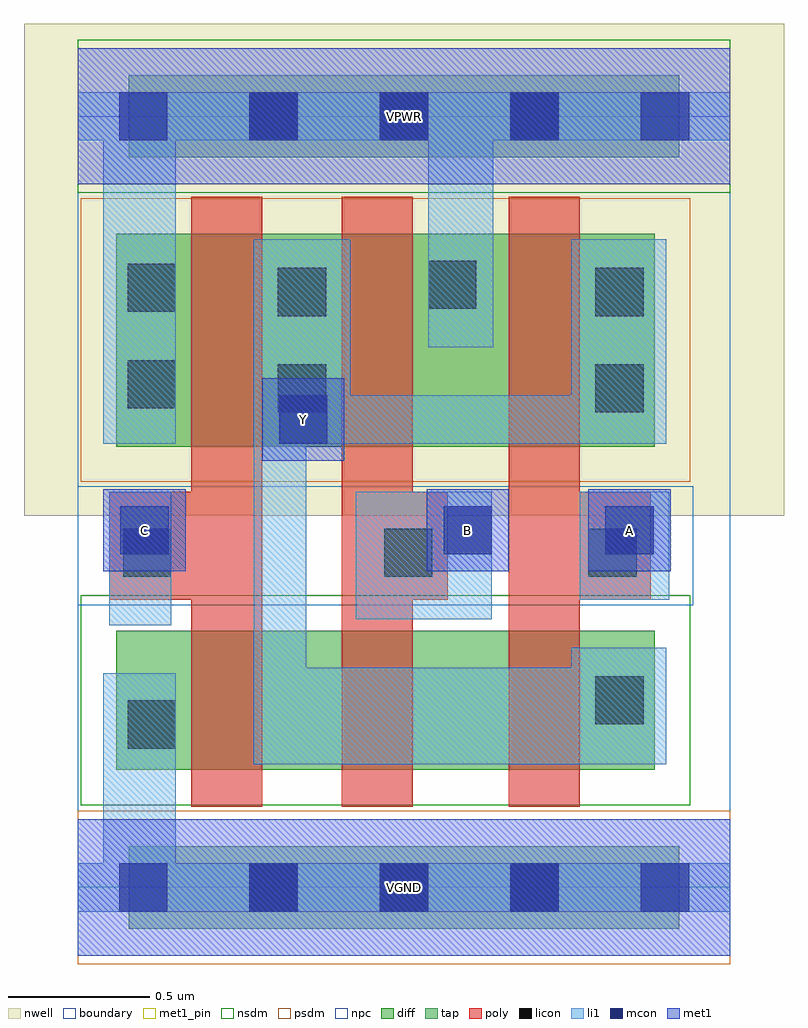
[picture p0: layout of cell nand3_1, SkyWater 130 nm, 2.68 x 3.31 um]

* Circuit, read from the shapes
.subckt nand3_1 A B C VGND VPWR Y
XM1 n1 C VGND VGND sky130_fd_pr__nfet_01v8 w=0.49 l=0.25
XM2 n2 B n1 VGND sky130_fd_pr__nfet_01v8 w=0.49 l=0.25
XM3 Y A n2 VGND sky130_fd_pr__nfet_01v8 w=0.49 l=0.25
XM4 Y C VPWR VPWR sky130_fd_pr__pfet_01v8 w=0.75 l=0.25
XM5 VPWR B Y VPWR sky130_fd_pr__pfet_01v8 w=0.75 l=0.25
XM6 Y A VPWR VPWR sky130_fd_pr__pfet_01v8 w=0.75 l=0.25
.ends

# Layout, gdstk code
import gdstk
lib = gdstk.Library(unit=1e-6, precision=1e-09)
def R(c, l, rs):  # rectangles x0, y0, x1, y1
    for r in rs: c.add(gdstk.rectangle(r[:2], r[2:], *l))
def A(c, l, x, y, w, h, nx, ny, dx, dy):  # array of equal rectangles
    R(c, l, [(x+i*dx, y+j*dy, x+i*dx+w, y+j*dy+h) for i in range(nx) for j in range(ny)])
nwell = (64, 20)
diff = (65, 20)
tap = (65, 44)
poly = (66, 20)
licon = (66, 44)
li1 = (67, 20)
mcon = (67, 44)
met1_pin = (68, 16)
met1 = (68, 20)
nsdm = (93, 44)
psdm = (94, 20)
npc = (95, 20)
boundary = (235, 4)

nand3_1 = lib.new_cell('nand3_1')
R(nand3_1, nwell, [(-0.19,1.31,2.49,3.045), (0,1.31,2.3,3.045)])
R(nand3_1, diff, [(0.135,0.415,2.035,0.905), (0.135,1.555,2.035,2.305)])
R(nand3_1, tap, [(0.18,-0.145,2.12,0.145), (0.18,2.575,2.12,2.865)])
R(nand3_1, poly, [(0.4,0.285,0.65,2.435), (0.93,0.285,1.18,2.435), (1.52,0.285,1.77,2.435), (0.11,1.015,0.65,1.395), (0.93,1.015,1.305,1.395), (1.52,1.015,2.02,1.395)])
A(nand3_1, licon, 0.605, -0.085, 0.17, 0.17, 3, 2, 0.46, 2.72)
R(nand3_1, licon, [(0.175,0.49,0.345,0.66), (1.825,0.575,1.995,0.745), (0.16,1.095,0.33,1.265), (1.08,1.095,1.25,1.265), (1.8,1.095,1.97,1.265), (0.705,1.675,0.875,1.845), (1.825,1.675,1.995,1.845), (0.175,1.69,0.345,1.86), (0.705,2.015,0.875,2.185), (1.825,2.015,1.995,2.185), (0.175,2.03,0.345,2.2), (1.235,2.04,1.405,2.21)])
R(nand3_1, li1, [(0,-0.085,2.3,0.085), (0.09,-0.085,0.345,0.755), (0.62,0.435,2.075,0.775), (0.62,0.435,0.805,2.285), (1.74,0.435,2.075,0.845), (0.11,0.925,0.33,1.395), (0.98,0.945,1.46,1.395), (1.77,1.015,2.085,1.395), (0.09,1.565,0.345,2.805), (0.62,1.565,0.96,2.285), (0.62,1.565,2.075,1.735), (1.74,1.565,2.075,2.285), (1.235,1.905,1.465,2.805), (0,2.635,2.3,2.805)])
A(nand3_1, mcon, 0.145, -0.085, 0.17, 0.17, 5, 2, 0.46, 2.72)
R(nand3_1, mcon, [(0.15,1.175,0.32,1.345), (1.29,1.175,1.46,1.345), (1.86,1.175,2.03,1.345), (0.71,1.565,0.88,1.735)])
R(nand3_1, met1_pin, [(0,-0.24,2.3,0.24), (0.09,1.115,0.38,1.405), (1.23,1.115,1.52,1.405), (1.8,1.115,2.09,1.405), (0.65,1.505,0.94,1.795), (0,2.48,2.3,2.96)])
R(nand3_1, met1, [(0,-0.24,2.3,0.24), (0.09,1.115,0.38,1.405), (1.23,1.115,1.52,1.405), (1.8,1.115,2.09,1.405), (0.65,1.505,0.94,1.795), (0,2.48,2.3,2.96)])
R(nand3_1, nsdm, [(0.01,0.29,2.16,1.03), (0,2.45,2.3,2.99)])
R(nand3_1, psdm, [(0,-0.27,2.3,0.27), (0.01,1.43,2.16,2.43)])
R(nand3_1, npc, [(0,0.995,2.17,1.415)])
R(nand3_1, boundary, [(0,0,2.3,2.72)])
nand3_1.add(gdstk.Label('A', (1.945,1.26), layer=68, texttype=5))
nand3_1.add(gdstk.Label('B', (1.375,1.26), layer=68, texttype=5))
nand3_1.add(gdstk.Label('C', (0.235,1.26), layer=68, texttype=5))
nand3_1.add(gdstk.Label('Y', (0.795,1.65), layer=68, texttype=5))
nand3_1.add(gdstk.Label('VPWR', (1.15,2.72), layer=68, texttype=5))
nand3_1.add(gdstk.Label('VGND', (1.15,0), layer=68, texttype=5))
nand3_1.add(gdstk.Label('A', (1.945,1.26), layer=68, texttype=16))
nand3_1.add(gdstk.Label('B', (1.375,1.26), layer=68, texttype=16))
nand3_1.add(gdstk.Label('C', (0.235,1.26), layer=68, texttype=16))
nand3_1.add(gdstk.Label('Y', (0.795,1.65), layer=68, texttype=16))
nand3_1.add(gdstk.Label('VPWR', (1.15,2.72), layer=68, texttype=16))
nand3_1.add(gdstk.Label('VGND', (1.15,0), layer=68, texttype=16))

lib.write_gds('nand3_1.gds')
